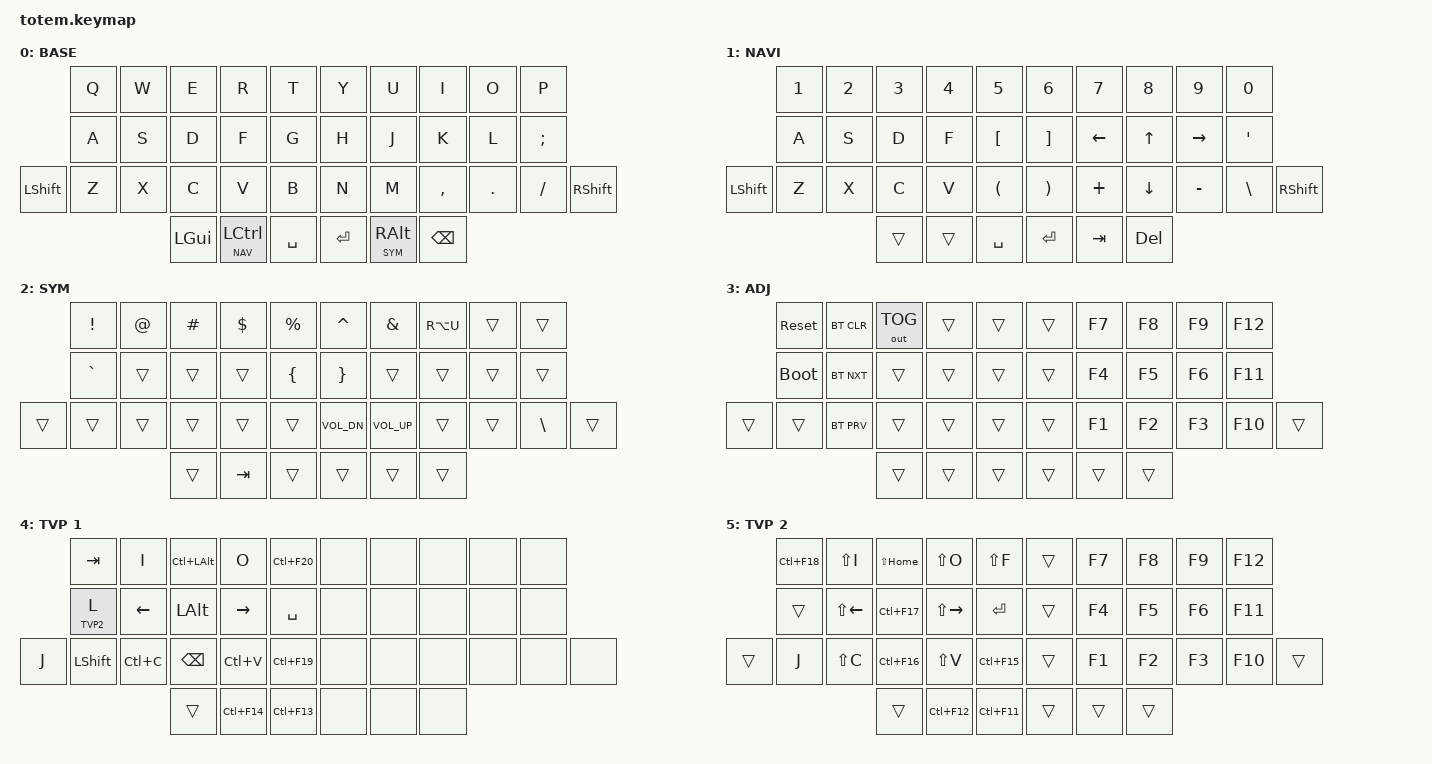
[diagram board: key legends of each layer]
//
//                                                        ▀▀▀▀▀     ▀▀▀▀▀          ▀▀█▀▀
//                                                        ▄▀▀▀▄  ▄  ▄▀▀▀▄  ▄  ▄▀▀▀▄  █  ▄▀▀▀▄
//                                                        █   █  █  █   █  █  █   █  █  █   █
//                                                         ▀▀▀   █   ▀▀▀   █   ▀▀▀   ▀   ▀▀▀
//                                                               █      ▄▄▄█▄▄▄    █   █  
//                                                               ▀      █  █  █     █▄█
//                                                             ▀▀▀▀▀    █  █  █      ▀
//                                                                      ▀  ▀  ▀
//
// ▄▄▄▄▄▄▄▄▄▄▄▄▄▄▄▄▄▄▄▄▄▄▄▄▄▄▄▄▄▄▄▄▄▄▄▄▄▄▄▄▄▄▄▄▄▄▄▄▄▄▄▄▄▄▄▄▄▄▄▄▄▄▄▄▄▄▄▄▄▄▄▄▄▄▄▄▄▄▄▄▄▄▄▄▄▄▄▄▄▄▄▄▄▄▄▄▄▄▄▄▄▄▄▄▄▄▄▄▄▄▄▄▄▄▄▄▄▄▄▄▄▄▄▄▄▄▄▄▄▄▄▄▄▄▄▄▄▄▄▄▄▄▄▄▄▄▄▄▄
       

#include <behaviors.dtsi>
#include <dt-bindings/zmk/keys.h>
#include <dt-bindings/zmk/bt.h>
#include <dt-bindings/zmk/outputs.h>

#define BASE 0
#define NAV  1
#define SYM  2
#define ADJ  3
#define TVP1 4
#define TVP2 5

&mt {
  quick-tap-ms = <100>;
  global-quick-tap;
  flavor = "tap-preferred";
  tapping-term-ms = <220>;
};

&lt {
  compatible = "zmk,behavior-hold-tap";
  flavor = "balanced";
  tapping-term-ms = <220>;
}

/ {
     combos {
            compatible = "zmk,combos";
            combo_esc {
                timeout-ms = <50>;
                key-positions = <0 1>;
                bindings = <&kp ESC>;
            };
            combo_tab {
                timeout-ms = <50>;
                key-positions = <10 11>;
                bindings = <&kp TAB>;
            };
            // combo_ctrl_w {
            //     timeout-ms = <50>;
            //     key-positions = <1>;
            //     layers = <1>;
            //     bindings = <&kp LC(W)>;
            // };
            // combo_ctrl_e {
            //     timeout-ms = <50>;
            //     key-positions = <2>;
            //     layers = <1>;
            //     bindings = <&kp LC(E)>;
            // };
            // combo_ctrl_r {
            //     timeout-ms = <50>;
            //     key-positions = <3>;
            //     layers = <1>;
            //     bindings = <&kp LC(R)>;
            // };
            // combo_ctrl_t {
            //     timeout-ms = <50>;
            //     key-positions = <4>;
            //     layers = <1>;
            //     bindings = <&kp LC(T)>;
            // };
            // combo_ctrl_a {
            //     timeout-ms = <50>;
            //     key-positions = <10>;
            //     layers = <1>;
            //     bindings = <&kp LC(A)>;
            // };
            // combo_ctrl_s {
            //     timeout-ms = <50>;
            //     key-positions = <11>;
            //     layers = <1>;
            //     bindings = <&kp LC(S)>;
            // };
            // combo_ctrl_d {
            //     timeout-ms = <50>;
            //     key-positions = <12>;
            //     layers = <1>;
            //     bindings = <&kp LC(D)>;
            // };
            // combo_ctrl_f {
            //     timeout-ms = <50>;
            //     key-positions = <13>;
            //     layers = <1>;
            //     bindings = <&kp LC(F)>;
            // };
            // combo_ctrl_z {
            //     timeout-ms = <50>;
            //     key-positions = <21>;
            //     layers = <1>;
            //     bindings = <&kp LC(Z)>;
            // };
            // combo_ctrl_x {
            //     timeout-ms = <50>;
            //     key-positions = <22>;
            //     layers = <1>;
            //     bindings = <&kp LC(X)>;
            // };
            // combo_ctrl_c {
            //     timeout-ms = <50>;
            //     key-positions = <23>;
            //     layers = <1>;
            //     bindings = <&kp LC(C)>;
            // };
            // combo_ctrl_v {
            //     timeout-ms = <50>;
            //     key-positions = <24>;
            //     layers = <1>;
            //     bindings = <&kp LC(V)>;
            // };
            combo_tvp {
                timeout-ms = <100>;
                key-positions = <11 12 13>;
                bindings = <&tog TVP1>;
            };
    };

    macros {
        gif: gif {
            label = "giphy";
            compatible = "zmk,behavior-macro";
            #binding-cells = <0>;
            bindings
                = <&macro_press &kp LSHFT>
                , <&macro_tap &kp N2>
                , <&macro_release &kp LSHFT>
                , <&macro_tap &kp G &kp I &kp F>
                ;
        };
    };

        keymap {
                compatible = "zmk,keymap";
// ▄▄▄▄▄▄▄▄▄▄▄▄▄▄▄▄▄▄▄▄▄▄▄▄▄▄▄▄▄▄▄▄▄▄▄▄▄▄▄▄▄▄▄▄▄▄▄▄▄▄▄▄▄▄▄▄▄▄▄▄▄▄▄▄▄▄▄▄▄▄▄▄▄▄▄▄▄▄▄▄▄▄▄▄▄▄▄▄▄▄▄▄▄▄▄▄▄▄▄▄▄▄▄▄▄▄▄▄▄▄▄▄▄▄▄▄▄▄▄▄▄▄▄▄▄▄▄▄▄▄▄▄▄▄▄▄▄▄▄▄▄▄▄▄▄▄▄▄▄

                base_layer {
// ┏━━━━━━━━━━━━━━━━━━━━━━━━━━━━━━━━━━━━━━━┓
label= "BASE"                              ;
// ┗━━━━━━━━━━━━━━━━━━━━━━━━━━━━━━━━━━━━━━━┛
//             ┏━━━━━━━━━━━┳━━━━━━━━━━━┳━━━━━━━━━━━┳━━━━━━━━━━━┳━━━━━━━━━━━┓   ┏━━━━━━━━━━━┳━━━━━━━━━━━┳━━━━━━━━━━━┳━━━━━━━━━━━┳━━━━━━━━━━━┓
//             ┃     Q     ┃     W     ┃     E     ┃     R     ┃     T     ┃   ┃     Y     ┃     U     ┃     I     ┃     O     ┃     P     ┃
//             ┣━━━━━━━━━━━╋━━━━━━━━━━━╋━━━━━━━━━━━╋━━━━━━━━━━━╋━━━━━━━━━━━┫   ┣━━━━━━━━━━━╋━━━━━━━━━━━╋━━━━━━━━━━━╋━━━━━━━━━━━╋━━━━━━━━━━━┫
//             ┃     A     ┃     S     ┃     D     ┃     F     ┃     G     ┃   ┃     H     ┃     J     ┃     K     ┃     L     ┃     ;     ┃
// ┏━━━━━━━━━━━╋━━━━━━━━━━━╋━━━━━━━━━━━╋━━━━━━━━━━━╋━━━━━━━━━━━╋━━━━━━━━━━━┫   ┣━━━━━━━━━━━╋━━━━━━━━━━━╋━━━━━━━━━━━╋━━━━━━━━━━━╋━━━━━━━━━━━╋━━━━━━━━━━━┓
// ┃   LSHFT   ┃     Z     ┃     X     ┃     C     ┃     V     ┃     B     ┃   ┃     N     ┃     M     ┃     ,     ┃     .     ┃     /     ┃   RSHFT   ┃
// ┗━━━━━━━━━━━┻━━━━━━━━━━━┻━━━━━━━━━━━╋━━━━━━━━━━━╋━━━━━━━━━━━╋━━━━━━━━━━━┫   ┣━━━━━━━━━━━╋━━━━━━━━━━━╋━━━━━━━━━━━╋━━━━━━━━━━━┻━━━━━━━━━━━┻━━━━━━━━━━━┛
//                                     ┃   LGUI    ┃  LCR/NAV  ┃    SPC    ┃   ┃   ENTER   ┃  RLT/SYM  ┃    BSPC   ┃
//                                     ┗━━━━━━━━━━━┻━━━━━━━━━━━┻━━━━━━━━━━━┛   ┗━━━━━━━━━━━┻━━━━━━━━━━━┻━━━━━━━━━━━┛
 bindings = <
// ╷           ╷           ╷           ╷           ╷           ╷           ╷   ╷           ╷           ╷           ╷           ╷           ╷           ╷

                &kp Q       &kp W       &kp E       &kp R       &kp T           &kp Y       &kp U       &kp I       &kp O       &kp P
                &kp A       &kp S       &kp D       &kp F       &kp G           &kp H       &kp J       &kp K       &kp L       &kp SEMI
    &kp LSHFT   &kp Z       &kp X       &kp C       &kp V       &kp B           &kp N       &kp M       &kp COMMA   &kp DOT     &kp FSLH    &kp RSHFT 
                                        &kp LGUI &lt NAV LCTRL  &kp SPACE       &kp RET  &lt SYM RALT   &kp BSPC
                        >;
                };

// ▄▄▄▄▄▄▄▄▄▄▄▄▄▄▄▄▄▄▄▄▄▄▄▄▄▄▄▄▄▄▄▄▄▄▄▄▄▄▄▄▄▄▄▄▄▄▄▄▄▄▄▄▄▄▄▄▄▄▄▄▄▄▄▄▄▄▄▄▄▄▄▄▄▄▄▄▄▄▄▄▄▄▄▄▄▄▄▄▄▄▄▄▄▄▄▄▄▄▄▄▄▄▄▄▄▄▄▄▄▄▄▄▄▄▄▄▄▄▄▄▄▄▄▄▄▄▄▄▄▄▄▄▄▄▄▄▄▄▄▄▄▄▄▄▄▄▄▄▄


                nav_layer {
// ┏━━━━━━━━━━━━━━━━━━━━━━━━━━━━━━━━━━━━━━━┓
label= "NAVI"                              ;
// ┗━━━━━━━━━━━━━━━━━━━━━━━━━━━━━━━━━━━━━━━┛
//             ┏━━━━━━━━━━━┳━━━━━━━━━━━┳━━━━━━━━━━━┳━━━━━━━━━━━┳━━━━━━━━━━━┓   ┏━━━━━━━━━━━┳━━━━━━━━━━━┳━━━━━━━━━━━┳━━━━━━━━━━━┳━━━━━━━━━━━┓
//             ┃     1     ┃     2     ┃     3     ┃     4     ┃     5     ┃   ┃     6     ┃     7     ┃     8     ┃     9     ┃     0     ┃
//             ┣━━━━━━━━━━━╋━━━━━━━━━━━╋━━━━━━━━━━━╋━━━━━━━━━━━╋━━━━━━━━━━━┫   ┣━━━━━━━━━━━╋━━━━━━━━━━━╋━━━━━━━━━━━╋━━━━━━━━━━━╋━━━━━━━━━━━┫
//             ┃     A     ┃     S     ┃     D     ┃     F     ┃     [     ┃   ┃     ]     ┃    LEFT   ┃    UP     ┃   RIGHT   ┃     '     ┃
// ┏━━━━━━━━━━━╋━━━━━━━━━━━╋━━━━━━━━━━━╋━━━━━━━━━━━╋━━━━━━━━━━━╋━━━━━━━━━━━┫   ┣━━━━━━━━━━━╋━━━━━━━━━━━╋━━━━━━━━━━━╋━━━━━━━━━━━╋━━━━━━━━━━━╋━━━━━━━━━━━┓
// ┃   LSHFT   ┃     Z     ┃     X     ┃     C     ┃     V     ┃     (     ┃   ┃     )     ┃     +     ┃   DOWN    ┃     -     ┃     \     ┃   RSHFT   ┃
// ┗━━━━━━━━━━━┻━━━━━━━━━━━┻━━━━━━━━━━━╋━━━━━━━━━━━╋━━━━━━━━━━━╋━━━━━━━━━━━┫   ┣━━━━━━━━━━━╋━━━━━━━━━━━╋━━━━━━━━━━━╋━━━━━━━━━━━┻━━━━━━━━━━━┻━━━━━━━━━━━┛
//                                     ┃           ┃           ┃    SPC    ┃   ┃   ENTER   ┃    TAB    ┃    DEL    ┃
//                                     ┗━━━━━━━━━━━┻━━━━━━━━━━━┻━━━━━━━━━━━┛   ┗━━━━━━━━━━━┻━━━━━━━━━━━┻━━━━━━━━━━━┛
 bindings = <
// ╷           ╷           ╷           ╷           ╷           ╷           ╷   ╷           ╷           ╷           ╷           ╷           ╷           ╷

                &kp N1      &kp N2      &kp N3      &kp N4      &kp N5          &kp N6      &kp N7      &kp N8      &kp N9      &kp N0  
                &kp A       &kp S       &kp D       &kp F       &kp LBKT        &kp RBKT    &kp LEFT    &kp UP      &kp RIGHT   &kp SQT
    &kp LSHFT   &kp Z       &kp X       &kp C       &kp V       &kp LPAR        &kp RPAR    &kp PLUS    &kp DOWN    &kp MINUS   &kp BSLH    &kp RSHFT
                                        &trans      &trans      &kp SPACE       &kp RET     &kp TAB     &kp DEL      
                        >;
                };

// ▄▄▄▄▄▄▄▄▄▄▄▄▄▄▄▄▄▄▄▄▄▄▄▄▄▄▄▄▄▄▄▄▄▄▄▄▄▄▄▄▄▄▄▄▄▄▄▄▄▄▄▄▄▄▄▄▄▄▄▄▄▄▄▄▄▄▄▄▄▄▄▄▄▄▄▄▄▄▄▄▄▄▄▄▄▄▄▄▄▄▄▄▄▄▄▄▄▄▄▄▄▄▄▄▄▄▄▄▄▄▄▄▄▄▄▄▄▄▄▄▄▄▄▄▄▄▄▄▄▄▄▄▄▄▄▄▄▄▄▄▄▄▄▄▄▄▄▄▄


                sim_layer {
// ┏━━━━━━━━━━━━━━━━━━━━━━━━━━━━━━━━━━━━━━━┓
label= "SYM"                               ;
// ┗━━━━━━━━━━━━━━━━━━━━━━━━━━━━━━━━━━━━━━━┛
//             ┏━━━━━━━━━━━┳━━━━━━━━━━━┳━━━━━━━━━━━┳━━━━━━━━━━━┳━━━━━━━━━━━┓   ┏━━━━━━━━━━━┳━━━━━━━━━━━┳━━━━━━━━━━━┳━━━━━━━━━━━┳━━━━━━━━━━━┓
//             ┃     !     ┃     @     ┃     #     ┃     $     ┃     %     ┃   ┃     ˆ     ┃     &     ┃     *     ┃           ┃           ┃
//             ┣━━━━━━━━━━━╋━━━━━━━━━━━╋━━━━━━━━━━━╋━━━━━━━━━━━╋━━━━━━━━━━━┫   ┣━━━━━━━━━━━╋━━━━━━━━━━━╋━━━━━━━━━━━╋━━━━━━━━━━━╋━━━━━━━━━━━┫
//             ┃     `     ┃           ┃           ┃           ┃     {     ┃   ┃     }     ┃           ┃           ┃           ┃           ┃
// ┏━━━━━━━━━━━╋━━━━━━━━━━━╋━━━━━━━━━━━╋━━━━━━━━━━━╋━━━━━━━━━━━╋━━━━━━━━━━━┫   ┣━━━━━━━━━━━╋━━━━━━━━━━━╋━━━━━━━━━━━╋━━━━━━━━━━━╋━━━━━━━━━━━╋━━━━━━━━━━━┓
// ┃           ┃           ┃           ┃           ┃           ┃           ┃   ┃   VOL-    ┃   VOL+    ┃           ┃           ┃     \     ┃           ┃
// ┗━━━━━━━━━━━┻━━━━━━━━━━━┻━━━━━━━━━━━╋━━━━━━━━━━━╋━━━━━━━━━━━╋━━━━━━━━━━━┫   ┣━━━━━━━━━━━╋━━━━━━━━━━━╋━━━━━━━━━━━╋━━━━━━━━━━━┻━━━━━━━━━━━┻━━━━━━━━━━━┛
//                                     ┃           ┃    TAB    ┃           ┃   ┃           ┃           ┃           ┃
//                                     ┗━━━━━━━━━━━┻━━━━━━━━━━━┻━━━━━━━━━━━┛   ┗━━━━━━━━━━━┻━━━━━━━━━━━┻━━━━━━━━━━━┛
 bindings = <
// ╷           ╷           ╷           ╷           ╷           ╷           ╷   ╷           ╷           ╷           ╷           ╷           ╷           ╷

                &kp EXCL    &kp AT      &kp HASH    &kp DLLR    &kp PRCNT       &kp CARET   &kp AMPS    &kp RA(U)   &trans      &trans       
                &kp GRAVE   &trans      &trans      &trans      &kp LBRC        &kp RBRC    &trans      &trans      &trans      &trans 
    &trans      &trans      &trans      &trans      &trans      &trans          &kp C_VOL_DN &kp C_VOL_UP &trans    &trans      &kp BSLH   &trans         
                                        &trans      &kp TAB     &trans          &trans      &trans    &trans      
                        >;
                };

// ▄▄▄▄▄▄▄▄▄▄▄▄▄▄▄▄▄▄▄▄▄▄▄▄▄▄▄▄▄▄▄▄▄▄▄▄▄▄▄▄▄▄▄▄▄▄▄▄▄▄▄▄▄▄▄▄▄▄▄▄▄▄▄▄▄▄▄▄▄▄▄▄▄▄▄▄▄▄▄▄▄▄▄▄▄▄▄▄▄▄▄▄▄▄▄▄▄▄▄▄▄▄▄▄▄▄▄▄▄▄▄▄▄▄▄▄▄▄▄▄▄▄▄▄▄▄▄▄▄▄▄▄▄▄▄▄▄▄▄▄▄▄▄▄▄▄▄▄▄


                adjust_layer {
// ┏━━━━━━━━━━━━━━━━━━━━━━━━━━━━━━━━━━━━━━━┓
label= "ADJ"                               ;
// ┗━━━━━━━━━━━━━━━━━━━━━━━━━━━━━━━━━━━━━━━┛
//             ┏━━━━━━━━━━━┳━━━━━━━━━━━┳━━━━━━━━━━━┳━━━━━━━━━━━┳━━━━━━━━━━━┓   ┏━━━━━━━━━━━┳━━━━━━━━━━━┳━━━━━━━━━━━┳━━━━━━━━━━━┳━━━━━━━━━━━┓
//             ┃   RESET   ┃ BT CLEAR  ┃  OUT TOG  ┃           ┃           ┃   ┃           ┃    F7     ┃    F8     ┃    F9     ┃    F12    ┃
//             ┣━━━━━━━━━━━╋━━━━━━━━━━━╋━━━━━━━━━━━╋━━━━━━━━━━━╋━━━━━━━━━━━┫   ┣━━━━━━━━━━━╋━━━━━━━━━━━╋━━━━━━━━━━━╋━━━━━━━━━━━╋━━━━━━━━━━━┫
//             ┃ BOOTLOAD  ┃ BT NEXT   ┃           ┃           ┃           ┃   ┃           ┃    F4     ┃    F5     ┃    F6     ┃    F11    ┃
// ┏━━━━━━━━━━━╋━━━━━━━━━━━╋━━━━━━━━━━━╋━━━━━━━━━━━╋━━━━━━━━━━━╋━━━━━━━━━━━┫   ┣━━━━━━━━━━━╋━━━━━━━━━━━╋━━━━━━━━━━━╋━━━━━━━━━━━╋━━━━━━━━━━━╋━━━━━━━━━━━┓
// ┃           ┃           ┃ BT PREV   ┃           ┃           ┃           ┃   ┃           ┃    F1     ┃    F2     ┃    F3     ┃    F10    ┃           ┃
// ┗━━━━━━━━━━━┻━━━━━━━━━━━┻━━━━━━━━━━━╋━━━━━━━━━━━╋━━━━━━━━━━━╋━━━━━━━━━━━┫   ┣━━━━━━━━━━━╋━━━━━━━━━━━╋━━━━━━━━━━━╋━━━━━━━━━━━┻━━━━━━━━━━━┻━━━━━━━━━━━┛
//                                     ┃           ┃           ┃           ┃   ┃           ┃           ┃           ┃
//                                     ┗━━━━━━━━━━━┻━━━━━━━━━━━┻━━━━━━━━━━━┛   ┗━━━━━━━━━━━┻━━━━━━━━━━━┻━━━━━━━━━━━┛
 bindings = <
// ╷           ╷           ╷           ╷           ╷           ╷           ╷   ╷           ╷           ╷           ╷           ╷           ╷           ╷

                &sys_reset  &bt BT_CLR &out OUT_TOG &trans      &trans          &trans      &kp F7      &kp F8      &kp F9      &kp F12
                &bootloader &bt BT_NXT  &trans      &trans      &trans          &trans      &kp F4      &kp F5      &kp F6      &kp F11  
    &trans      &trans      &bt BT_PRV  &trans      &trans      &trans          &trans      &kp F1      &kp F2      &kp F3      &kp F10     &trans         
                                        &trans      &trans      &trans          &trans      &trans      &trans      
                        >;
                };

// ▄▄▄▄▄▄▄▄▄▄▄▄▄▄▄▄▄▄▄▄▄▄▄▄▄▄▄▄▄▄▄▄▄▄▄▄▄▄▄▄▄▄▄▄▄▄▄▄▄▄▄▄▄▄▄▄▄▄▄▄▄▄▄▄▄▄▄▄▄▄▄▄▄▄▄▄▄▄▄▄▄▄▄▄▄▄▄▄▄▄▄▄▄▄▄▄▄▄▄▄▄▄▄▄▄▄▄▄▄▄▄▄▄▄▄▄▄▄▄▄▄▄▄▄▄▄▄▄▄▄▄▄▄▄▄▄▄▄▄▄▄▄▄▄▄▄▄▄▄


                tvp1_layer {
// ┏━━━━━━━━━━━━━━━━━━━━━━━━━━━━━━━━━━━━━━━┓
label= "TVP 1"                             ;
// ┗━━━━━━━━━━━━━━━━━━━━━━━━━━━━━━━━━━━━━━━┛
//             ┏━━━━━━━━━━━┳━━━━━━━━━━━┳━━━━━━━━━━━┳━━━━━━━━━━━┳━━━━━━━━━━━┓   ┏━━━━━━━━━━━┳━━━━━━━━━━━┳━━━━━━━━━━━┳━━━━━━━━━━━┳━━━━━━━━━━━┓
//             ┃ NEXT FILE ┃ MARK IN   ┃ ROTATE    ┃ MARK OUT  ┃ SHOW SNAP ┃   ┃           ┃           ┃           ┃           ┃           ┃
//             ┣━━━━━━━━━━━╋━━━━━━━━━━━╋━━━━━━━━━━━╋━━━━━━━━━━━╋━━━━━━━━━━━┫   ┣━━━━━━━━━━━╋━━━━━━━━━━━╋━━━━━━━━━━━╋━━━━━━━━━━━╋━━━━━━━━━━━┫
//             ┃ TVP II    ┃ LEFT      ┃ PAN       ┃ RIGHT     ┃ PLAY/FLIP ┃   ┃           ┃           ┃           ┃           ┃           ┃
// ┏━━━━━━━━━━━╋━━━━━━━━━━━╋━━━━━━━━━━━╋━━━━━━━━━━━╋━━━━━━━━━━━╋━━━━━━━━━━━┫   ┣━━━━━━━━━━━╋━━━━━━━━━━━╋━━━━━━━━━━━╋━━━━━━━━━━━╋━━━━━━━━━━━╋━━━━━━━━━━━┓
// ┃ FULLSCR   ┃ SHIFT     ┃ COPY      ┃ DELETE    ┃ PASTE     ┃ IMG MARK  ┃   ┃           ┃           ┃           ┃           ┃           ┃           ┃
// ┗━━━━━━━━━━━┻━━━━━━━━━━━┻━━━━━━━━━━━╋━━━━━━━━━━━╋━━━━━━━━━━━╋━━━━━━━━━━━┫   ┣━━━━━━━━━━━╋━━━━━━━━━━━╋━━━━━━━━━━━╋━━━━━━━━━━━┻━━━━━━━━━━━┻━━━━━━━━━━━┛
//                                     ┃           ┃ UNDO/SAVE ┃  SEL/MOV  ┃   ┃           ┃           ┃           ┃
//                                     ┗━━━━━━━━━━━┻━━━━━━━━━━━┻━━━━━━━━━━━┛   ┗━━━━━━━━━━━┻━━━━━━━━━━━┻━━━━━━━━━━━┛
 bindings = <
// ╷           ╷           ╷           ╷           ╷           ╷           ╷   ╷           ╷           ╷           ╷           ╷           ╷           ╷

                &kp TAB     &kp I       &kp LC(LALT) &kp O      &kp LC(F20)     &none       &none       &none       &none       &none
                &lt TVP2 L  &kp LEFT    &kp LALT    &kp RIGHT   &kp SPACE       &none       &none       &none       &none       &none
    &kp J       &kp LSHFT   &kp LC(C)   &kp BSPC    &kp LC(V)   &kp LC(F19)     &none       &none       &none       &none       &none       &none        
                                        &trans      &kp LC(F14) &kp LC(F13)     &none       &none       &none    
                        >;
                };

// ▄▄▄▄▄▄▄▄▄▄▄▄▄▄▄▄▄▄▄▄▄▄▄▄▄▄▄▄▄▄▄▄▄▄▄▄▄▄▄▄▄▄▄▄▄▄▄▄▄▄▄▄▄▄▄▄▄▄▄▄▄▄▄▄▄▄▄▄▄▄▄▄▄▄▄▄▄▄▄▄▄▄▄▄▄▄▄▄▄▄▄▄▄▄▄▄▄▄▄▄▄▄▄▄▄▄▄▄▄▄▄▄▄▄▄▄▄▄▄▄▄▄▄▄▄▄▄▄▄▄▄▄▄▄▄▄▄▄▄▄▄▄▄▄▄▄▄▄▄


                tvp2_layer {
// ┏━━━━━━━━━━━━━━━━━━━━━━━━━━━━━━━━━━━━━━━┓
label= "TVP 2"                             ;
// ┗━━━━━━━━━━━━━━━━━━━━━━━━━━━━━━━━━━━━━━━┛
//             ┏━━━━━━━━━━━┳━━━━━━━━━━━┳━━━━━━━━━━━┳━━━━━━━━━━━┳━━━━━━━━━━━┓   ┏━━━━━━━━━━━┳━━━━━━━━━━━┳━━━━━━━━━━━┳━━━━━━━━━━━┳━━━━━━━━━━━┓
//             ┃ SOLO      ┃ TOGGLE IN ┃ RESET ROT ┃ TOGGLE OUT┃ TAKE SNAP ┃   ┃           ┃           ┃           ┃           ┃           ┃
//             ┣━━━━━━━━━━━╋━━━━━━━━━━━╋━━━━━━━━━━━╋━━━━━━━━━━━╋━━━━━━━━━━━┫   ┣━━━━━━━━━━━╋━━━━━━━━━━━╋━━━━━━━━━━━╋━━━━━━━━━━━╋━━━━━━━━━━━┫
//             ┃ ---       ┃ LAST KEY  ┃ NEW KEY   ┃ NEXT KEY  ┃ ENTER     ┃   ┃           ┃           ┃           ┃           ┃           ┃
// ┏━━━━━━━━━━━╋━━━━━━━━━━━╋━━━━━━━━━━━╋━━━━━━━━━━━╋━━━━━━━━━━━╋━━━━━━━━━━━┫   ┣━━━━━━━━━━━╋━━━━━━━━━━━╋━━━━━━━━━━━╋━━━━━━━━━━━╋━━━━━━━━━━━╋━━━━━━━━━━━┓
// ┃           ┃ FULLSCR   ┃ CPY2BRUSH ┃ DEL HEAD  ┃ PSTinPLACE┃ BOOK MARK ┃   ┃           ┃           ┃           ┃           ┃           ┃           ┃
// ┗━━━━━━━━━━━┻━━━━━━━━━━━┻━━━━━━━━━━━╋━━━━━━━━━━━╋━━━━━━━━━━━╋━━━━━━━━━━━┫   ┣━━━━━━━━━━━╋━━━━━━━━━━━╋━━━━━━━━━━━╋━━━━━━━━━━━┻━━━━━━━━━━━┻━━━━━━━━━━━┛
//                                     ┃           ┃ REDO/SAV1 ┃TRANS/WARP ┃   ┃           ┃           ┃           ┃
//                                     ┗━━━━━━━━━━━┻━━━━━━━━━━━┻━━━━━━━━━━━┛   ┗━━━━━━━━━━━┻━━━━━━━━━━━┻━━━━━━━━━━━┛
 bindings = <
// ╷           ╷           ╷           ╷           ╷           ╷           ╷   ╷           ╷           ╷           ╷           ╷           ╷           ╷

                &kp LC(F18) &kp LS(I)  &kp LS(HOME) &kp LS(O)   &kp LS(F)       &trans      &kp F7      &kp F8      &kp F9      &kp F12
                &trans      &kp LS(LEFT) &kp LC(F17) &kp LS(RIGHT) &kp RET      &trans      &kp F4      &kp F5      &kp F6      &kp F11  
    &trans      &kp J       &kp LS(C)   &kp LC(F16) &kp LS(V)   &kp LC(F15)     &trans      &kp F1      &kp F2      &kp F3      &kp F10     &trans         
                                        &trans      &kp LC(F12) &kp LC(F11)     &trans      &trans      &trans      
                        >;
                };
        };
};
